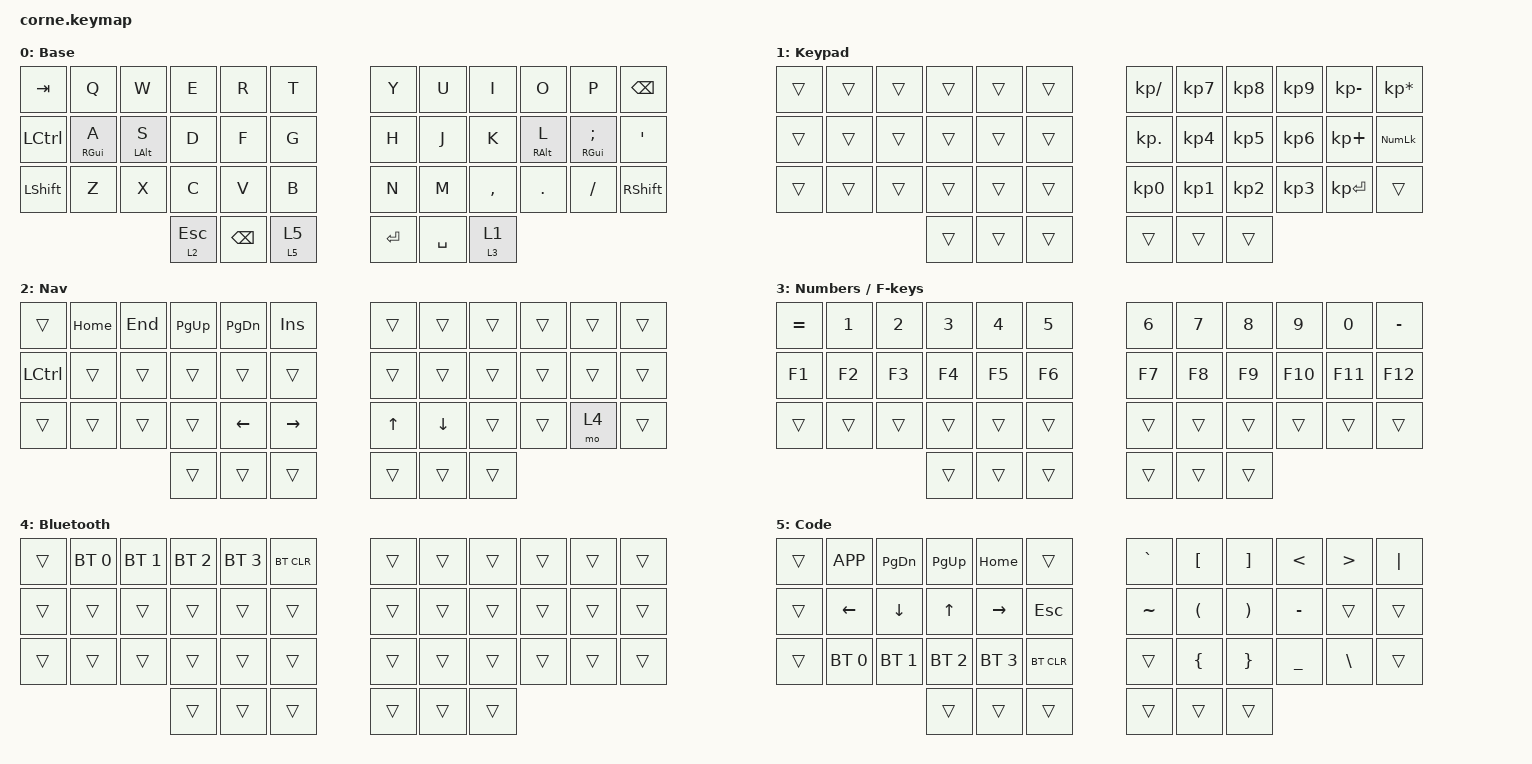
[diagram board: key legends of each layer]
/*
 * Copyright (c) 2020 The ZMK Contributors
 *
 * SPDX-License-Identifier: MIT
 */

#include <behaviors.dtsi>
#include <dt-bindings/zmk/keys.h>
#include <dt-bindings/zmk/bt.h>

/ {

        behaviors {

                hm: homerow_mods {
                    compatible = "zmk,behavior-hold-tap";
                    #binding-cells = <2>;
                    tapping-term-ms = <200>;
                    quick-tap-ms = <0>;
                    flavor = "tap-preferred";
                    bindings = <&kp>, <&kp>;
                };

                nav_thumb: navigation_thumb {
                        compatible = "zmk,behavior-hold-tap";
                        #binding-cells = <2>;
                        tapping-term-ms = <180>;
                        flavor = "hold-preferred";
                        bindings = <&mo>, <&kp>;
                };

                layer_thumb: layer_thumb_behavior {
                        compatible = "zmk,behavior-hold-tap";
                        #binding-cells = <2>;
                        tapping-term-ms = <180>;
                        flavor = "hold-preferred";
                        bindings = <&mo>, <&tog>;
                };
        };

        keymap {
                compatible = "zmk,keymap";

                default_layer {
                        display-name = "Base";
                        bindings = <
                            &kp TAB          &kp Q            &kp W            &kp E            &kp R            &kp T    &kp Y            &kp U            &kp I            &kp O            &kp P            &kp BSPC
                            &kp LCTRL         &hm RGUI A       &hm LALT S       &kp D            &kp F      &kp G    &kp H            &kp J      &kp K            &hm RALT L       &hm RGUI SEMI    &kp SQT
                            &kp LSHFT        &kp Z            &kp X            &kp C            &kp V            &kp B    &kp N            &kp M            &kp COMMA        &kp DOT          &kp FSLH         &kp RSHFT
                                                                               &nav_thumb 2 ESC &kp BSPC         &layer_thumb 5 5    &kp RET          &kp SPACE        &layer_thumb 3 1
                        >;
                };

                keypad_layer {
                        display-name = "Keypad";
                        bindings = <
                            &trans           &trans           &trans           &trans           &trans           &trans    &kp KP_DIVIDE    &kp KP_N7        &kp KP_N8        &kp KP_N9        &kp KP_MINUS     &kp KP_MULTIPLY
                            &trans           &trans           &trans           &trans           &trans           &trans    &kp KP_DOT           &kp KP_N4        &kp KP_N5        &kp KP_N6        &kp KP_PLUS      &kp KP_NUM
                            &trans           &trans           &trans           &trans           &trans           &trans    &kp KP_N0        &kp KP_N1        &kp KP_N2        &kp KP_N3        &kp KP_ENTER     &trans
                                                                               &trans           &trans           &trans    &trans           &trans           &trans
                        >;
                };

                nav_layer {
                        display-name = "Nav";
                        bindings = <
                            &trans           &kp HOME         &kp END          &kp PG_UP        &kp PG_DN        &kp INS    &trans           &trans           &trans           &trans           &trans           &trans
                            &kp LCTRL        &trans           &trans           &trans           &trans           &trans    &trans           &trans           &trans           &trans           &trans           &trans
                            &trans           &trans           &trans           &trans           &kp LEFT         &kp RIGHT    &kp UP           &kp DOWN         &trans           &trans           &mo 4            &trans
                                                                               &trans           &trans           &trans    &trans           &trans           &trans
                        >;
                };

                numbers_layer {
                        display-name = "Numbers / F-keys";
                        bindings = <
                            &kp EQUAL        &kp N1           &kp N2           &kp N3           &kp N4           &kp N5    &kp N6           &kp N7           &kp N8           &kp N9           &kp N0           &kp MINUS
                            &kp F1           &kp F2           &kp F3           &kp F4           &kp F5           &kp F6    &kp F7           &kp F8           &kp F9           &kp F10          &kp F11          &kp F12
                            &trans           &trans           &trans           &trans           &trans           &trans    &trans           &trans           &trans           &trans           &trans           &trans
                                                                               &trans           &trans           &trans    &trans           &trans           &trans
                        >;
                };

                bluetooth_layer {
                        display-name = "Bluetooth";
                        bindings = <
                            &trans           &bt BT_SEL 0     &bt BT_SEL 1     &bt BT_SEL 2     &bt BT_SEL 3     &bt BT_CLR    &trans           &trans           &trans           &trans           &trans           &trans
                            &trans           &trans           &trans           &trans           &trans           &trans    &trans           &trans           &trans           &trans           &trans           &trans
                            &trans           &trans           &trans           &trans           &trans           &trans    &trans           &trans           &trans           &trans           &trans           &trans
                                                                               &trans           &trans           &trans    &trans           &trans           &trans
                        >;
                };

                code_layer {
                        display-name = "Code";
                        bindings = <
                            &trans           &kp K_APP        &kp PG_DN        &kp PG_UP        &kp HOME         &trans    &kp GRAVE        &kp LBKT         &kp RBKT         &kp LT           &kp GT           &kp PIPE
                            &trans           &kp LEFT         &kp DOWN         &kp UP           &kp RIGHT        &kp ESC    &kp TILDE        &kp LPAR         &kp RPAR         &kp MINUS        &trans           &trans
                            &trans           &bt BT_SEL 0     &bt BT_SEL 1     &bt BT_SEL 2     &bt BT_SEL 3     &bt BT_CLR    &trans           &kp LBRC         &kp RBRC         &kp UNDER        &kp BSLH         &trans
                                                                               &trans           &trans           &trans    &trans           &trans           &trans
                        >;
                };
        };
};
